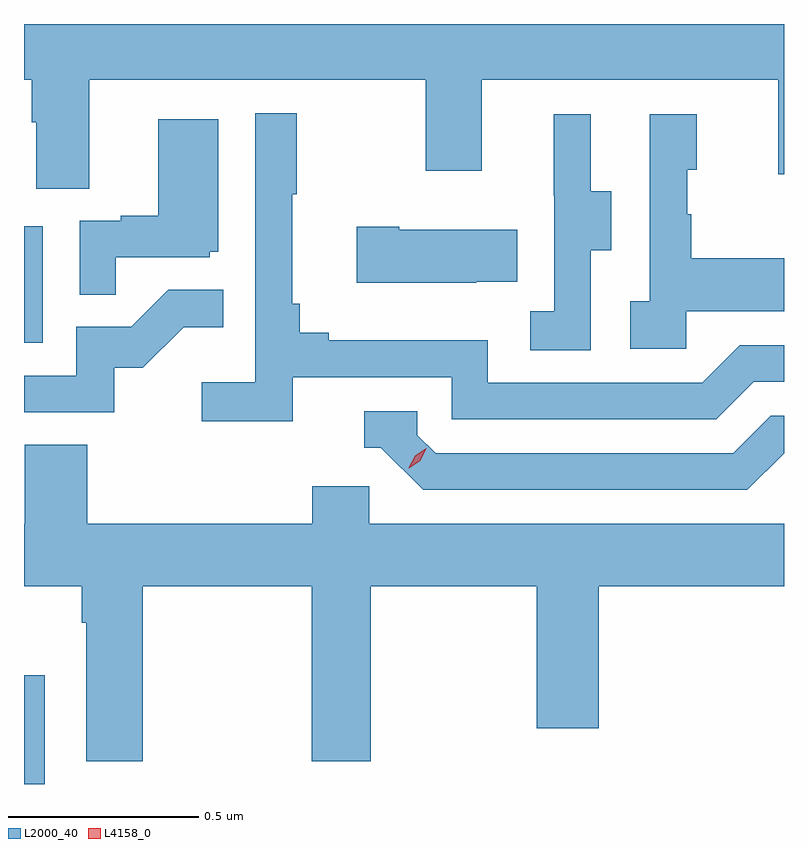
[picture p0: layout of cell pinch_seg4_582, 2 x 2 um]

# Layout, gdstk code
import gdstk
lib = gdstk.Library(unit=1e-6, precision=1e-09)
def R(c, l, rs):  # rectangles x0, y0, x1, y1
    for r in rs: c.add(gdstk.rectangle(r[:2], r[2:], *l))
def P(c, l, *ps):  # polygons
    for p in ps: c.add(gdstk.Polygon(p, *l))
L2000_40 = (2000, 40)
L4158_0 = (4158, 0)

pinch_seg4_582 = lib.new_cell('pinch_seg4_582')
R(pinch_seg4_582, L2000_40, [(1086.735,769.659,1086.79,769.945), (1086.735,770.82,1086.784,771.127)])
P(pinch_seg4_582, L2000_40, [(1086.907,771.512),(1087.792,771.512),(1087.792,771.273),(1087.939,771.273),(1087.939,771.512),(1088.72,771.512),(1088.72,771.264),(1088.735,771.264),(1088.735,771.659),(1086.735,771.659),(1086.735,771.512),(1086.755,771.512),(1086.755,771.4),(1086.767,771.4),(1086.767,771.226),(1086.907,771.226)],
  [(1087.442,770.73),(1087.86,770.73),(1087.86,770.619),(1088.557,770.619),(1088.656,770.718),(1088.735,770.718),(1088.735,770.814),(1088.619,770.814),(1088.52,770.715),(1087.956,770.715),(1087.956,770.827),(1087.537,770.827),(1087.537,770.846),(1087.46,770.846),(1087.46,770.923),(1087.441,770.923),(1087.441,771.211),(1087.453,771.211),(1087.453,771.424),(1087.344,771.424),(1087.344,770.716),(1087.203,770.716),(1087.203,770.614),(1087.442,770.614)],
  [(1088.478,770.903),(1088.735,770.903),(1088.735,771.043),(1088.491,771.043),(1088.491,771.158),(1088.481,771.158),(1088.481,771.276),(1088.506,771.276),(1088.506,771.421),(1088.382,771.421),(1088.382,770.93),(1088.331,770.93),(1088.331,770.805),(1088.478,770.805)],
  [(1088.226,771.064),(1088.281,771.064),(1088.281,771.219),(1088.227,771.219),(1088.227,771.421),(1088.129,771.421),(1088.129,771.207),(1088.13,771.207),(1088.13,770.903),(1088.067,770.903),(1088.067,770.8),(1088.226,770.8)],
  [(1086.977,771.045),(1087.224,771.045),(1087.224,771.06),(1087.246,771.06),(1087.246,771.409),(1087.088,771.409),(1087.088,771.154),(1086.989,771.154),(1086.989,771.141),(1086.882,771.141),(1086.882,770.947),(1086.977,770.947)],
  [(1087.925,770.981),(1088.033,770.981),(1088.033,771.118),(1087.723,771.118),(1087.723,771.126),(1087.611,771.126),(1087.611,770.978),(1087.925,770.978)],
  [(1086.972,770.754),(1087.048,770.754),(1087.155,770.861),(1087.259,770.861),(1087.259,770.96),(1087.115,770.96),(1087.017,770.862),(1086.873,770.862),(1086.873,770.733),(1086.735,770.733),(1086.735,770.637),(1086.972,770.637)],
  [(1088.735,770.53),(1088.735,770.628),(1088.7,770.628),(1088.601,770.529),(1087.818,770.529),(1087.77,770.577),(1087.77,770.64),(1087.631,770.64),(1087.631,770.544),(1087.674,770.544),(1087.785,770.433),(1088.638,770.433)],
  [(1087.047,770.18),(1087.492,770.18),(1087.492,769.719),(1087.647,769.719),(1087.647,770.18),(1088.084,770.18),(1088.084,769.806),(1088.248,769.806),(1088.248,770.18),(1088.735,770.18),(1088.735,770.344),(1087.644,770.344),(1087.644,770.442),(1087.493,770.442),(1087.493,770.344),(1086.902,770.344),(1086.902,770.552),(1086.737,770.552),(1086.737,770.344),(1086.735,770.344),(1086.735,770.18),(1086.887,770.18),(1086.887,770.084),(1086.899,770.084),(1086.899,769.719),(1087.047,769.719)])
P(pinch_seg4_582, L4158_0, [(1087.748,770.49),(1087.748,770.491),(1087.764,770.523),(1087.794,770.543),(1087.794,770.543),(1087.794,770.542),(1087.778,770.51),(1087.748,770.49)])

lib.write_gds('pinch_seg4_582.gds')
